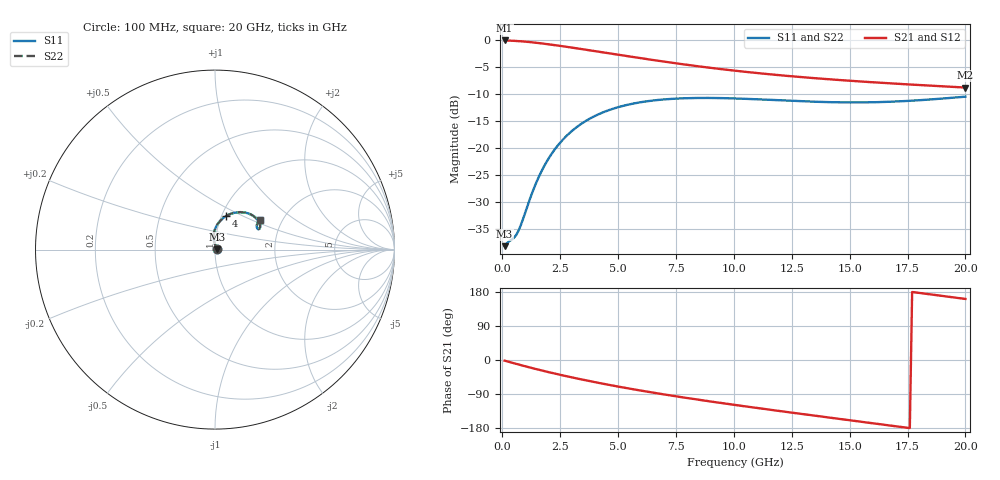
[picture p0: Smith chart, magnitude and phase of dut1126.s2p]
! Touchstone file exported from HFSS 2024.1.0
!  File:  C:/UserFiles/LocalFiles/RDL_TSV_Batchsim/temp_RDL_TSV_1126_1780108252.aedt
!  Generated:  10:45:41 AM May 30, 2026
!  Design:  RDL_TSV
!  Project:  temp_RDL_TSV_1126_1780108252
!  Setup:  Setup1
!  Solution:  Sweep
! Variables:
!  dtsv = 9.59um
!  hbump = 3um
!  htsv = 60.8um
!  ldown = 691.86um
!  lrdl = 238.97um
!  p = 40
!  p1 = 53.12um
!  rhole = 10um
!  subl = 3031.46um
!  t = 450um
!  tdown = 4.91um
!  trdl = 3.25um
!  viad = 10um
!  wdown = 25.62um
!  wrdl = 20.02um
!  xbump = 18um
# GHz S MA R 50.000000
! Terminal data exported
! Port[1] = TM1_1_T1
! Port[2] = TM1_4_T1
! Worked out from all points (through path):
!   200 points, 100 MHz to 20 GHz, reference 50 ohm
!   highest |S21| = -0.11 dB at 100 MHz (marker M1); lowest = -8.8 dB at 20 GHz (marker M2)
!   group delay of S21, straight-line fit = 26 ps
!   lowest |S11| = -38.2 dB at 100 MHz (marker M3), VSWR 1.02, Z = 51.2 + j0.265 ohm
!   |S11| at or under -10 dB: start of sweep to end of sweep
!   |S22| runs from -38.2 to -10.5 dB; largest |S21 - S12| = 2.9e-14
!   S11 on the Smith chart (normalised r, x): 100 MHz: 1.02, +0.01; 4 GHz: 1.05, +0.41; 20 GHz: 1.55, +0.55
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0.1  0.0123 12.1  0.9876 -1.8  0.9876 -1.8  0.0123 12.1
! Gamma 0 0 0 0
! Port Impedance 50 0 50 0
0.2  0.01311 21.1  0.9862 -3.5  0.9862 -3.5  0.01311 21.1
0.5  0.01468 45.6  0.98 -8.5  0.98 -8.5  0.01468 45.6
0.7  0.0171 64.7  0.9741 -11.9  0.9741 -11.9  0.0171 64.7
1.4  0.04402 96.1  0.9436 -23.0  0.9436 -23.0  0.04399 96.1
1.7  0.06114 97.1  0.9274 -27.6  0.9274 -27.6  0.0611 97.1
2  0.07973 95.5  0.91 -32.0  0.91 -32.0  0.07968 95.5
2.3  0.09896 92.6  0.8919 -36.3  0.8919 -36.3  0.0989 92.6
2.7  0.1245 87.8  0.8673 -41.8  0.8673 -41.8  0.1244 87.8
3.1  0.149 82.7  0.8424 -47.1  0.8424 -47.1  0.1489 82.7
3.5  0.1719 77.6  0.8177 -52.3  0.8177 -52.3  0.1717 77.6
4  0.1974 71.5  0.7872 -58.5  0.7872 -58.5  0.1973 71.5
5.2  0.2444 58.4  0.718 -72.3  0.718 -72.3  0.2443 58.4
6.8  0.2787 44.9  0.6373 -89.0  0.6373 -89.0  0.2785 44.9
8.4  0.2897 35.3  0.5716 -104.1  0.5716 -104.1  0.2894 35.3
10.1  0.2866 28.8  0.5168 -119.0  0.5168 -119.0  0.2863 28.9
11.7  0.2775 25.7  0.4768 -132.4  0.4768 -132.4  0.2772 25.8
13.4  0.2679 25.2  0.4434 -146.2  0.4434 -146.2  0.2676 25.2
15  0.2635 26.7  0.4184 -159.0  0.4184 -159.0  0.2633 26.8
16.7  0.2671 29.4  0.3964 -172.6  0.3964 -172.6  0.267 29.5
18.3  0.2789 31.7  0.3787 174.7  0.3787 174.7  0.2788 31.8
20  0.2978 33.0  0.362 161.1  0.362 161.1  0.298 33.1
